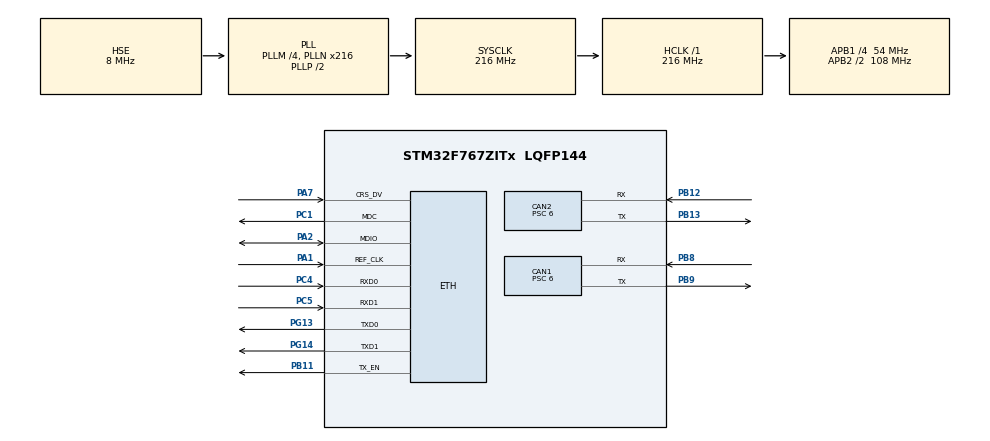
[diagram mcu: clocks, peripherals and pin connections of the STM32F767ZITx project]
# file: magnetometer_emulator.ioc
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CAN1.BS1=CAN_BS1_7TQ
CAN1.CalculateBaudRate=1000000
CAN1.CalculateTimeBit=1000
CAN1.CalculateTimeQuantum=111.11111111111111
CAN1.Prescaler=6
CAN2.BS1=CAN_BS1_7TQ
CAN2.CalculateBaudRate=1000000
CAN2.CalculateTimeBit=1000
CAN2.CalculateTimeQuantum=111.11111111111111
CAN2.Prescaler=6
ETH.MediaInterface=HAL_ETH_RMII_MODE
Mcu.Family=STM32F7
Mcu.Name=STM32F767ZITx
Mcu.Package=LQFP144
NVIC.CAN1_RX0_IRQn=true\:0\:0\:false\:false\:true\:true\:true\:true
NVIC.CAN2_RX1_IRQn=true\:0\:0\:false\:false\:true\:true\:true\:true
NVIC.PriorityGroup=NVIC_PRIORITYGROUP_4
PA1.Mode=RMII
PA1.Signal=ETH_REF_CLK
PA2.Mode=RMII
PA2.Signal=ETH_MDIO
PA7.Mode=RMII
PA7.Signal=ETH_CRS_DV
PB11.Mode=RMII
PB11.Signal=ETH_TX_EN
PB12.Mode=CAN_Activate
PB12.Signal=CAN2_RX
PB13.Mode=CAN_Activate
PB13.Signal=CAN2_TX
PB8.Mode=CAN_Activate
PB8.Signal=CAN1_RX
PB9.Mode=CAN_Activate
PB9.Signal=CAN1_TX
PC1.Mode=RMII
PC1.Signal=ETH_MDC
PC4.Mode=RMII
PC4.Signal=ETH_RXD0
PC5.Mode=RMII
PC5.Signal=ETH_RXD1
PG13.Mode=RMII
PG13.Signal=ETH_TXD0
PG14.Mode=RMII
PG14.Signal=ETH_TXD1
PH0/OSC_IN.Mode=HSE-External-Clock-Source
PH0/OSC_IN.Signal=RCC_OSC_IN
PH1/OSC_OUT.Mode=HSE-External-Clock-Source
PH1/OSC_OUT.Signal=RCC_OSC_OUT
ProjectManager.HeapSize=0x200
ProjectManager.StackSize=0x400
ProjectManager.TargetToolchain=STM32CubeIDE
RCC.48MHZClocksFreq_Value=24000000
RCC.AHBFreq_Value=216000000
RCC.APB1CLKDivider=RCC_HCLK_DIV4
RCC.APB1Freq_Value=54000000
RCC.APB1TimFreq_Value=108000000
RCC.APB2CLKDivider=RCC_HCLK_DIV2
RCC.APB2Freq_Value=108000000
RCC.APB2TimFreq_Value=216000000
RCC.CortexFreq_Value=216000000
RCC.EnbaleCSS=true
RCC.HCLKFreq_Value=216000000
RCC.HSE_VALUE=8000000
RCC.HSI_VALUE=16000000
RCC.LSE_VALUE=32768
RCC.PLLM=4
RCC.PLLMUL=RCC_PLL_MUL9
RCC.PLLN=216
RCC.PLLQ=4
RCC.PLLSourceVirtual=RCC_PLLSOURCE_HSE
RCC.PRESCALERUSB=RCC_USBCLKSOURCE_PLL_DIV1_5
RCC.SYSCLKFreq_VALUE=216000000
RCC.SYSCLKSource=RCC_SYSCLKSOURCE_PLLCLK
RCC.SYSCLKSourceVirtual=RCC_SYSCLKSOURCE_PLLCLK
RCC.USBFreq_Value=108000000
RCC.VCOOutputFreq_Value=432000000
board=NUCLEO-F767ZI

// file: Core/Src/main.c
/* USER CODE BEGIN Header */
/**
  ******************************************************************************
  * @file           : main.c
  * @brief          : Main program body
  ******************************************************************************
  * @attention
  *
  * Copyright (c) 2025 STMicroelectronics.
  * All rights reserved.
  *
  * This software is licensed under terms that can be found in the LICENSE file
  * in the root directory of this software component.
  * If no LICENSE file comes with this software, it is provided AS-IS.
  *
  ******************************************************************************
  */
/* USER CODE END Header */
#include "main.h"
#include "string.h"

/* USER CODE BEGIN PTD */

CAN_TxHeaderTypeDef cubeTxHeader;
CAN_RxHeaderTypeDef cubeRxHeader;

CAN_TxHeaderTypeDef TxHeader;
CAN_RxHeaderTypeDef RxHeader;

uint8_t device_id = 0x34;
uint8_t can_data[8];
uint8_t can_mag_data[8];

uint8_t cube_msg[15] = {0,0,0,0,0,0,0,1,0,0,0,0,0,1,0};
/* USER CODE END PTD */

#if defined ( __ICCARM__ ) /*!< IAR Compiler */
#pragma location=0x2007c000
ETH_DMADescTypeDef  DMARxDscrTab[ETH_RX_DESC_CNT]; /* Ethernet Rx DMA Descriptors */
#pragma location=0x2007c0a0
ETH_DMADescTypeDef  DMATxDscrTab[ETH_TX_DESC_CNT]; /* Ethernet Tx DMA Descriptors */

#elif defined ( __CC_ARM )  /* MDK ARM Compiler */

__attribute__((at(0x2007c000))) ETH_DMADescTypeDef  DMARxDscrTab[ETH_RX_DESC_CNT]; /* Ethernet Rx DMA Descriptors */
__attribute__((at(0x2007c0a0))) ETH_DMADescTypeDef  DMATxDscrTab[ETH_TX_DESC_CNT]; /* Ethernet Tx DMA Descriptors */

#elif defined ( __GNUC__ ) /* GNU Compiler */

ETH_DMADescTypeDef DMARxDscrTab[ETH_RX_DESC_CNT] __attribute__((section(".RxDecripSection"))); /* Ethernet Rx DMA Descriptors */
ETH_DMADescTypeDef DMATxDscrTab[ETH_TX_DESC_CNT] __attribute__((section(".TxDecripSection")));   /* Ethernet Tx DMA Descriptors */
#endif

ETH_TxPacketConfig TxConfig;

CAN_HandleTypeDef hcan1;
CAN_HandleTypeDef hcan2;

ETH_HandleTypeDef heth;

/* USER CODE BEGIN PV */

typedef enum
{
	TC_req = 0x01,
	TC_ack,
	TC_nack,
	TLM_req,
	TLM_res,
	TLM_nack,
	TC_EXT,
	TLM_EXT
} msgtypes;

typedef struct
{
	uint8_t msgtype;
	uint8_t src_addr;
	uint8_t dest_addr;
	uint8_t reg_id;

}ident_t;

ident_t ext_id;

/* USER CODE END PV */

void SystemClock_Config(void);
static void MX_GPIO_Init(void);
static void MX_CAN1_Init(void);
static void MX_CAN2_Init(void);
static void MX_ETH_Init(void);
/* USER CODE BEGIN PFP */

uint32_t encode_id(uint8_t msg_type, uint8_t reg_id, uint8_t src_addr,
				   uint8_t dest_addr)
{
	uint32_t can_id = 0;
	can_id |= (msg_type & 0x1F) << 24; // First 5 bits
	can_id |= (reg_id & 0xFF) << 16;   // Next 8 bits
	can_id |= (src_addr & 0xFF) << 8;  // Next 8 bits
	can_id |= dest_addr & 0xFF;		   // Last 8 bits
	return can_id;
}

void decode_id(uint32_t can_id, ident_t *id)
{

	id->msgtype = (msgtypes)(can_id >> 24) & 0x1F; // First 5 bits
	id->reg_id = (can_id >> 16) & 0xFF;			  // Next 8 bits
	id->src_addr = (can_id >> 8) & 0xFF;			  // Next 8 bits
	id->dest_addr = can_id & 0xFF;				  // Last 8 bits
}

void CAN_Filters_Config(void)
{

//	CAN_FilterTypeDef canFilterConfig;
//
//	canFilterConfig.FilterActivation = ENABLE;
//	canFilterConfig.FilterBank = 0;  // Filter bank number
//	canFilterConfig.FilterMode = CAN_FILTERMODE_IDMASK;  // Mask mode
//	canFilterConfig.FilterScale = CAN_FILTERSCALE_32BIT; // 32-bit filter
//	canFilterConfig.FilterIdHigh = 0x0000;
//	canFilterConfig.FilterIdLow = 0x0000;
//	canFilterConfig.FilterMaskIdHigh = 0x0000;
//	canFilterConfig.FilterMaskIdLow = 0x0000;
//	canFilterConfig.FilterFIFOAssignment = CAN_RX_FIFO0; // FIFO assignment
//	canFilterConfig.SlaveStartFilterBank = 14; // For dual CAN (optional)
//
//	if (HAL_CAN_ConfigFilter(&hcan1, &canFilterConfig) != HAL_OK) {
//	    // Handle error
//	}

	  CAN_FilterTypeDef sFilterConfig;

	  sFilterConfig.FilterBank           = 0;
	  sFilterConfig.FilterMode           = CAN_FILTERMODE_IDMASK;
	  sFilterConfig.FilterScale          = CAN_FILTERSCALE_32BIT;

	  sFilterConfig.FilterIdHigh         = 0x0000;
	  sFilterConfig.FilterIdLow          = 0x0004;
	  sFilterConfig.FilterMaskIdHigh     = 0xFFFF;
	  sFilterConfig.FilterMaskIdLow      = 0xFFC4;

	  sFilterConfig.FilterFIFOAssignment = CAN_RX_FIFO0;
	  sFilterConfig.FilterActivation     = ENABLE;
	  sFilterConfig.SlaveStartFilterBank = 14;

	  if (HAL_CAN_ConfigFilter(&hcan1, &sFilterConfig) != HAL_OK)
	  {
	    Error_Handler();
	  }

  /* ----------------- กำหนดค่า Filter สำหรับ CAN2 (รับเข้า FIFO1) ----------------- */

//  sFilterConfig.FilterBank           = 14;                    // ใช้ Filter Bank 14 (สำหรับ CAN2)
//  sFilterConfig.FilterMode           = CAN_FILTERMODE_IDMASK;
//  sFilterConfig.FilterScale          = CAN_FILTERSCALE_32BIT;
//  sFilterConfig.FilterIdHigh         = 0x0000;
//  sFilterConfig.FilterIdLow          = 0x0000;
//  sFilterConfig.FilterMaskIdHigh     = 0x0000;
//  sFilterConfig.FilterMaskIdLow      = 0x0000;
//  sFilterConfig.FilterFIFOAssignment = CAN_RX_FIFO1;
//  sFilterConfig.FilterActivation     = ENABLE;
//
//  if (HAL_CAN_ConfigFilter(&hcan2, &sFilterConfig) != HAL_OK)
//  {
//
//    Error_Handler();
//  }

	  sFilterConfig.FilterBank        =  14;
	  sFilterConfig.FilterMode       = CAN_FILTERMODE_IDMASK; // << โหมด Mask
	   sFilterConfig.FilterScale      = CAN_FILTERSCALE_32BIT;

	   sFilterConfig.FilterIdHigh     = 0x2628;
	   sFilterConfig.FilterIdLow      = 0x09A4;

	   sFilterConfig.FilterMaskIdHigh = 0xFFFF;
	   sFilterConfig.FilterMaskIdLow  = 0xFFFE;

	   sFilterConfig.FilterFIFOAssignment = CAN_RX_FIFO1;
	   sFilterConfig.FilterActivation     = ENABLE;

	   if (HAL_CAN_ConfigFilter(&hcan2, &sFilterConfig) != HAL_OK)
	   {
	     Error_Handler();
	   }

}

void can_tx_multiframe(CAN_TxHeaderTypeDef txheader, uint8_t *data, uint8_t length)
{
	uint32_t mailbox;
	if (length <= 8)
	{
		txheader.DLC = length;
		HAL_CAN_AddTxMessage(&hcan2, &txheader, data, &mailbox);
	}
	else
	{

		uint8_t num_frame = (length + 7) / 8;

		for (int i = 0; i < num_frame; i++)
		{

			if (i == num_frame - 1)
			{

				txheader.DLC = (length % 8 == 0) ? 8 : (length % 8);
				HAL_CAN_AddTxMessage(&hcan2, &txheader, data + (8 * i), &mailbox);
			}
			else
			{

				txheader.DLC = 8;
				HAL_CAN_AddTxMessage(&hcan2, &txheader, data + (8 * i), &mailbox);
			}
		}
	}
}

/* USER CODE END PFP */

int main(void)
{

  /* USER CODE BEGIN 1 */

	cubeTxHeader.RTR =  CAN_RTR_DATA;
	cubeTxHeader.IDE = CAN_ID_EXT;

  /* USER CODE END 1 */

  /* MCU Configuration--------------------------------------------------------*/

  /* Reset of all peripherals, Initializes the Flash interface and the Systick. */
  HAL_Init();

  /* Configure the system clock */
  SystemClock_Config();

  /* Initialize all configured peripherals */
  MX_GPIO_Init();
  MX_CAN1_Init();
  MX_CAN2_Init();
  MX_ETH_Init();
  /* USER CODE BEGIN 2 */
  HAL_CAN_Start(&hcan1);
  HAL_CAN_Start(&hcan2);

  CAN_Filters_Config();
  HAL_CAN_ActivateNotification(&hcan1, CAN_IT_RX_FIFO0_MSG_PENDING);
  HAL_CAN_ActivateNotification(&hcan2, CAN_IT_RX_FIFO1_MSG_PENDING);
  /* USER CODE END 2 */

  /* Infinite loop */
  while (1)
  {

  }
}

void SystemClock_Config(void)
{
  RCC_OscInitTypeDef RCC_OscInitStruct = {0};
  RCC_ClkInitTypeDef RCC_ClkInitStruct = {0};

  /** Configure the main internal regulator output voltage
  */
  __HAL_RCC_PWR_CLK_ENABLE();
  __HAL_PWR_VOLTAGESCALING_CONFIG(PWR_REGULATOR_VOLTAGE_SCALE1);

  /** Initializes the RCC Oscillators according to the specified parameters
  * in the RCC_OscInitTypeDef structure.
  */
  RCC_OscInitStruct.OscillatorType = RCC_OSCILLATORTYPE_HSE;
  RCC_OscInitStruct.HSEState = RCC_HSE_BYPASS;
  RCC_OscInitStruct.PLL.PLLState = RCC_PLL_ON;
  RCC_OscInitStruct.PLL.PLLSource = RCC_PLLSOURCE_HSE;
  RCC_OscInitStruct.PLL.PLLM = 4;
  RCC_OscInitStruct.PLL.PLLN = 216;
  RCC_OscInitStruct.PLL.PLLP = RCC_PLLP_DIV2;
  RCC_OscInitStruct.PLL.PLLQ = 4;
  RCC_OscInitStruct.PLL.PLLR = 2;
  if (HAL_RCC_OscConfig(&RCC_OscInitStruct) != HAL_OK)
  {
    Error_Handler();
  }

  /** Activate the Over-Drive mode
  */
  if (HAL_PWREx_EnableOverDrive() != HAL_OK)
  {
    Error_Handler();
  }

  /** Initializes the CPU, AHB and APB buses clocks
  */
  RCC_ClkInitStruct.ClockType = RCC_CLOCKTYPE_HCLK|RCC_CLOCKTYPE_SYSCLK
                              |RCC_CLOCKTYPE_PCLK1|RCC_CLOCKTYPE_PCLK2;
  RCC_ClkInitStruct.SYSCLKSource = RCC_SYSCLKSOURCE_PLLCLK;
  RCC_ClkInitStruct.AHBCLKDivider = RCC_SYSCLK_DIV1;
  RCC_ClkInitStruct.APB1CLKDivider = RCC_HCLK_DIV4;
  RCC_ClkInitStruct.APB2CLKDivider = RCC_HCLK_DIV2;

  if (HAL_RCC_ClockConfig(&RCC_ClkInitStruct, FLASH_LATENCY_7) != HAL_OK)
  {
    Error_Handler();
  }

  /** Enables the Clock Security System
  */
  HAL_RCC_EnableCSS();
}

static void MX_CAN1_Init(void)
{

  hcan1.Instance = CAN1;
  hcan1.Init.Prescaler = 6;
  hcan1.Init.Mode = CAN_MODE_NORMAL;
  hcan1.Init.SyncJumpWidth = CAN_SJW_1TQ;
  hcan1.Init.TimeSeg1 = CAN_BS1_7TQ;
  hcan1.Init.TimeSeg2 = CAN_BS2_1TQ;
  hcan1.Init.TimeTriggeredMode = DISABLE;
  hcan1.Init.AutoBusOff = DISABLE;
  hcan1.Init.AutoWakeUp = DISABLE;
  hcan1.Init.AutoRetransmission = DISABLE;
  hcan1.Init.ReceiveFifoLocked = DISABLE;
  hcan1.Init.TransmitFifoPriority = DISABLE;
  if (HAL_CAN_Init(&hcan1) != HAL_OK)
  {
    Error_Handler();
  }

}

static void MX_CAN2_Init(void)
{

  hcan2.Instance = CAN2;
  hcan2.Init.Prescaler = 6;
  hcan2.Init.Mode = CAN_MODE_NORMAL;
  hcan2.Init.SyncJumpWidth = CAN_SJW_1TQ;
  hcan2.Init.TimeSeg1 = CAN_BS1_7TQ;
  hcan2.Init.TimeSeg2 = CAN_BS2_1TQ;
  hcan2.Init.TimeTriggeredMode = DISABLE;
  hcan2.Init.AutoBusOff = DISABLE;
  hcan2.Init.AutoWakeUp = DISABLE;
  hcan2.Init.AutoRetransmission = DISABLE;
  hcan2.Init.ReceiveFifoLocked = DISABLE;
  hcan2.Init.TransmitFifoPriority = DISABLE;
  if (HAL_CAN_Init(&hcan2) != HAL_OK)
  {
    Error_Handler();
  }

}

static void MX_ETH_Init(void)
{

   static uint8_t MACAddr[6];

  heth.Instance = ETH;
  MACAddr[0] = 0x00;
  MACAddr[1] = 0x80;
  MACAddr[2] = 0xE1;
  MACAddr[3] = 0x00;
  MACAddr[4] = 0x00;
  MACAddr[5] = 0x00;
  heth.Init.MACAddr = &MACAddr[0];
  heth.Init.MediaInterface = HAL_ETH_RMII_MODE;
  heth.Init.TxDesc = DMATxDscrTab;
  heth.Init.RxDesc = DMARxDscrTab;
  heth.Init.RxBuffLen = 1524;

  if (HAL_ETH_Init(&heth) != HAL_OK)
  {
    Error_Handler();
  }

  memset(&TxConfig, 0 , sizeof(ETH_TxPacketConfig));
  TxConfig.Attributes = ETH_TX_PACKETS_FEATURES_CSUM | ETH_TX_PACKETS_FEATURES_CRCPAD;
  TxConfig.ChecksumCtrl = ETH_CHECKSUM_IPHDR_PAYLOAD_INSERT_PHDR_CALC;
  TxConfig.CRCPadCtrl = ETH_CRC_PAD_INSERT;

}

static void MX_GPIO_Init(void)
{

  /* GPIO Ports Clock Enable */
  __HAL_RCC_GPIOH_CLK_ENABLE();
  __HAL_RCC_GPIOC_CLK_ENABLE();
  __HAL_RCC_GPIOA_CLK_ENABLE();
  __HAL_RCC_GPIOB_CLK_ENABLE();
  __HAL_RCC_GPIOG_CLK_ENABLE();

}

/* USER CODE BEGIN 4 */

void HAL_CAN_RxFifo0MsgPendingCallback(CAN_HandleTypeDef *hcan)
{
//
	  if (HAL_CAN_GetRxMessage(&hcan1, CAN_RX_FIFO0, &RxHeader, can_data) != HAL_OK)
	  {
		  Error_Handler();

	  }

	  if(RxHeader.ExtId == 0x1)
	  {
		  memcpy(cube_msg,can_data,7);
		  cube_msg[8] = can_data[7];

	  }
	  else if(RxHeader.ExtId == 0x2)
	  {
		  memcpy(cube_msg+9,can_data,4);
	  }

}

void HAL_CAN_RxFifo1MsgPendingCallback(CAN_HandleTypeDef *hcan)
{
//

	  if (HAL_CAN_GetRxMessage(&hcan2, CAN_RX_FIFO1, &cubeRxHeader, can_mag_data) != HAL_OK)
	  {
		  Error_Handler();

	  }

	  decode_id(cubeRxHeader.ExtId, &ext_id);

	  if(ext_id.dest_addr == device_id)
	  {
		  if(ext_id.msgtype == TLM_req)
		  {
			  if(ext_id.reg_id == 0xC5)
			  {
				  cubeTxHeader.ExtId = encode_id(TLM_EXT, 0XC5, device_id, ext_id.src_addr);
				  can_tx_multiframe(cubeTxHeader, cube_msg, sizeof(cube_msg));
			  }
		  }

	  }

}

/* USER CODE END 4 */

void Error_Handler(void)
{
  __disable_irq();
  while (1)
  {
  }
}
